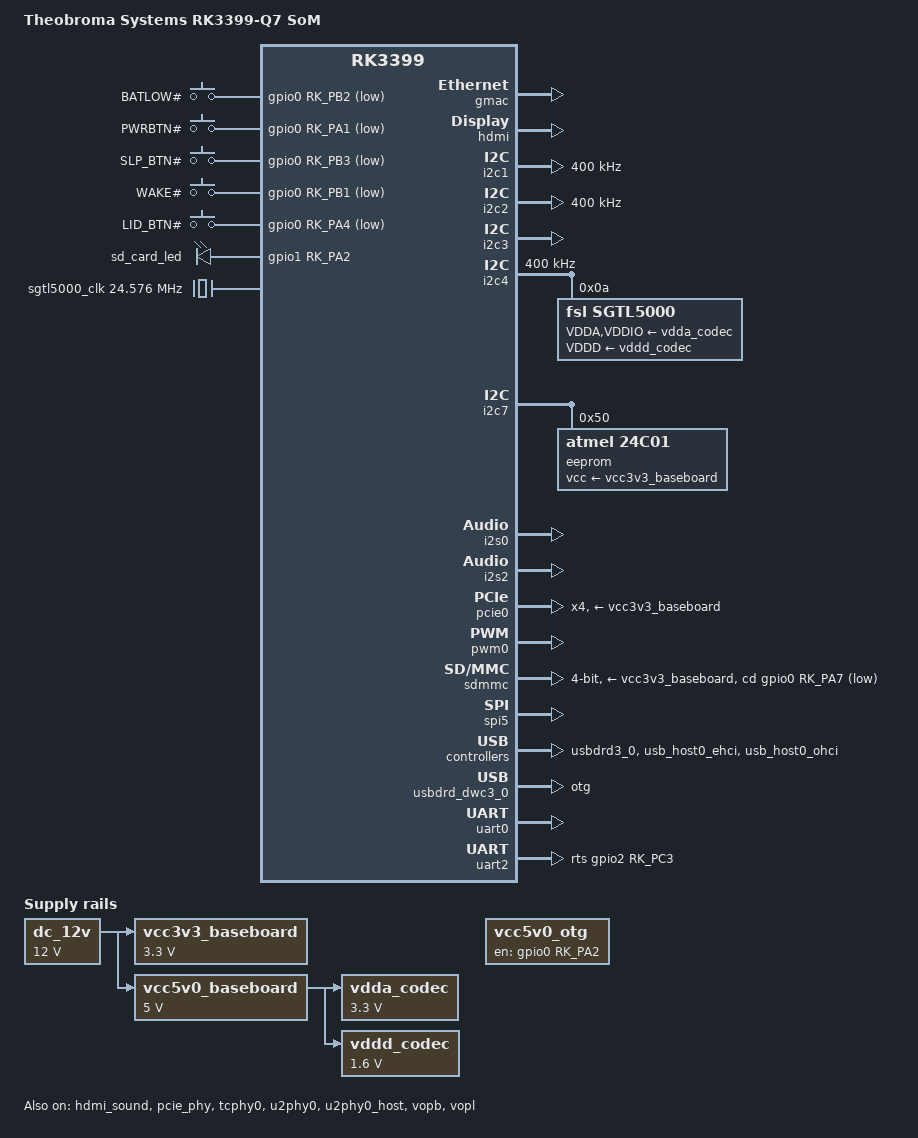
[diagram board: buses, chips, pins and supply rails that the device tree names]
// SPDX-License-Identifier: (GPL-2.0+ OR MIT)
/*
 * Copyright (c) 2017 Theobroma Systems Design und Consulting GmbH
 */

/dts-v1/;
#include "rk3399-puma.dtsi"
#include <dt-bindings/input/input.h>

/ {
	model = "Theobroma Systems RK3399-Q7 SoM";
	compatible = "tsd,rk3399-puma-haikou", "rockchip,rk3399";

	aliases {
		mmc1 = &sdmmc;
	};

	chosen {
		stdout-path = "serial0:115200n8";
	};

	gpio-keys {
		compatible = "gpio-keys";
		pinctrl-0 = <&haikou_keys_pin>;
		pinctrl-names = "default";

		button-batlow-n {
			gpios = <&gpio0 RK_PB2 GPIO_ACTIVE_LOW>;
			label = "BATLOW#";
			linux,code = <KEY_BATTERY>;
		};

		button-pwrbtn-n {
			gpios = <&gpio0 RK_PA1 GPIO_ACTIVE_LOW>;
			label = "PWRBTN#";
			linux,code = <KEY_POWER>;
		};

		button-slp-btn-n {
			gpios = <&gpio0 RK_PB3 GPIO_ACTIVE_LOW>;
			label = "SLP_BTN#";
			linux,code = <KEY_SLEEP>;
		};

		button-wake-n {
			gpios = <&gpio0 RK_PB1 GPIO_ACTIVE_LOW>;
			label = "WAKE#";
			linux,code = <KEY_WAKEUP>;
			wakeup-source;
		};

		switch-lid-btn-n {
			gpios = <&gpio0 RK_PA4 GPIO_ACTIVE_LOW>;
			label = "LID_BTN#";
			linux,code = <SW_LID>;
			linux,input-type = <EV_SW>;
		};
	};

	leds {
		pinctrl-0 = <&module_led_pin>, <&sd_card_led_pin>;

		sd_card_led: led-1 {
			label = "sd_card_led";
			gpios = <&gpio1 RK_PA2 GPIO_ACTIVE_HIGH>;
			linux,default-trigger = "mmc0";
		};
	};

	i2s0-sound {
		compatible = "simple-audio-card";
		simple-audio-card,format = "i2s";
		simple-audio-card,name = "Haikou,I2S-codec";
		simple-audio-card,mclk-fs = <512>;

		simple-audio-card,codec {
			clocks = <&sgtl5000_clk>;
			sound-dai = <&sgtl5000>;
		};

		simple-audio-card,cpu {
			bitclock-master;
			frame-master;
			sound-dai = <&i2s0>;
		};
	};

	sgtl5000_clk: sgtl5000-oscillator  {
			compatible = "fixed-clock";
			#clock-cells = <0>;
			clock-frequency = <24576000>;
	};

	dc_12v: regulator-dc-12v {
		compatible = "regulator-fixed";
		regulator-name = "dc_12v";
		regulator-always-on;
		regulator-boot-on;
		regulator-min-microvolt = <12000000>;
		regulator-max-microvolt = <12000000>;
	};

	vcc3v3_baseboard: regulator-vcc3v3-baseboard {
		compatible = "regulator-fixed";
		regulator-name = "vcc3v3_baseboard";
		regulator-always-on;
		regulator-boot-on;
		regulator-min-microvolt = <3300000>;
		regulator-max-microvolt = <3300000>;
		vin-supply = <&dc_12v>;
	};

	vcc5v0_baseboard: regulator-vcc5v0-baseboard {
		compatible = "regulator-fixed";
		regulator-name = "vcc5v0_baseboard";
		regulator-always-on;
		regulator-boot-on;
		regulator-min-microvolt = <5000000>;
		regulator-max-microvolt = <5000000>;
		vin-supply = <&dc_12v>;
	};

	vcc5v0_otg: regulator-vcc5v0-otg {
		compatible = "regulator-fixed";
		enable-active-high;
		gpio = <&gpio0 RK_PA2 GPIO_ACTIVE_HIGH>;
		pinctrl-names = "default";
		pinctrl-0 = <&otg_vbus_drv>;
		regulator-name = "vcc5v0_otg";
		regulator-always-on;
	};

	vdda_codec: regulator-vdda-codec {
		compatible = "regulator-fixed";
		regulator-name = "vdda_codec";
		regulator-boot-on;
		regulator-min-microvolt = <3300000>;
		regulator-max-microvolt = <3300000>;
		vin-supply = <&vcc5v0_baseboard>;
	};

	vddd_codec: regulator-vddd-codec {
		compatible = "regulator-fixed";
		regulator-name = "vddd_codec";
		regulator-boot-on;
		regulator-min-microvolt = <1600000>;
		regulator-max-microvolt = <1600000>;
		vin-supply = <&vcc5v0_baseboard>;
	};
};

&gmac {
	status = "okay";
};

&hdmi {
	status = "okay";
};

&hdmi_sound {
	status = "okay";
};

&i2c1 {
	status = "okay";
	clock-frequency = <400000>;
};

&i2c2 {
	status = "okay";
	clock-frequency = <400000>;
};

&i2c3 {
	i2c-scl-rising-time-ns = <450>;
	i2c-scl-falling-time-ns = <15>;
	status = "okay";
};

&i2c4 {
	status = "okay";
	clock-frequency = <400000>;

	sgtl5000: codec@a {
		compatible = "fsl,sgtl5000";
		reg = <0x0a>;
		clocks = <&sgtl5000_clk>;
		#sound-dai-cells = <0>;
		VDDA-supply = <&vdda_codec>;
		VDDIO-supply = <&vdda_codec>;
		VDDD-supply = <&vddd_codec>;
		status = "okay";
	};
};

&i2c7 {
	eeprom@50 {
		reg = <0x50>;
		compatible = "atmel,24c01";
		pagesize = <8>;
		size = <128>;
		vcc-supply = <&vcc3v3_baseboard>;
	};
};

&i2s0 {
	status = "okay";
};

&i2s2 {
	status = "okay";
};

&pcie_phy {
	status = "okay";
};

&pcie0 {
	ep-gpios = <&gpio4 RK_PC6 GPIO_ACTIVE_HIGH>;
	num-lanes = <4>;
	pinctrl-names = "default";
	pinctrl-0 = <&pcie_clkreqn_cpm>;
	vpcie3v3-supply = <&vcc3v3_baseboard>;
	vpcie12v-supply = <&dc_12v>;
	status = "okay";
};

&pinctrl {
	buttons {
		haikou_keys_pin: haikou-keys-pin {
			rockchip,pins =
			  /* PWRBTN# */
			  <0 RK_PA1 RK_FUNC_GPIO &pcfg_pull_up>,
			  /* LID_BTN */
			  <0 RK_PA4 RK_FUNC_GPIO &pcfg_pull_up>,
			  /* BATLOW# */
			  <0 RK_PB2 RK_FUNC_GPIO &pcfg_pull_up>,
			  /* SLP_BTN# */
			  <0 RK_PB3 RK_FUNC_GPIO &pcfg_pull_up>,
			  /* WAKE# */
			  <0 RK_PB1 RK_FUNC_GPIO &pcfg_pull_up>;
		};
	};

	leds {
		sd_card_led_pin: sd-card-led-pin {
			rockchip,pins =
			  <1 RK_PA2 RK_FUNC_GPIO &pcfg_pull_none>;
		};
	};

	usb2 {
		otg_vbus_drv: otg-vbus-drv {
			rockchip,pins =
			  <0 RK_PA2 RK_FUNC_GPIO &pcfg_pull_none>;
		};
	};
};

&pwm0 {
	status = "okay";
};

&sdmmc {
	bus-width = <4>;
	cap-mmc-highspeed;
	cap-sd-highspeed;
	cd-gpios = <&gpio0 RK_PA7 GPIO_ACTIVE_LOW>;
	disable-wp;
	max-frequency = <40000000>;
	pinctrl-names = "default";
	pinctrl-0 = <&sdmmc_clk &sdmmc_cmd &sdmmc_cd &sdmmc_bus4>;
	vmmc-supply = <&vcc3v3_baseboard>;
	status = "okay";
};

&spi5 {
	status = "okay";
};

&tcphy0 {
	status = "okay";
};

&u2phy0 {
	status = "okay";
};

&usbdrd3_0 {
	status = "okay";
};

&usbdrd_dwc3_0 {
	dr_mode = "otg";
	extcon = <&extcon_usb3>;
	status = "okay";
};

&u2phy0_host {
	phy-supply = <&vcc5v0_otg>;
	status = "okay";
};

&uart0 {
	pinctrl-names = "default";
	pinctrl-0 = <&uart0_xfer>;
	status = "okay";
};

&uart2 {
	rts-gpios = <&gpio2 RK_PC3 GPIO_ACTIVE_HIGH>;
	status = "okay";
};

&usb_host0_ehci {
	status = "okay";
};

&usb_host0_ohci {
	status = "okay";
};

&vopb {
	status = "okay";
};

&vopb_mmu {
	status = "okay";
};

&vopl {
	status = "okay";
};

&vopl_mmu {
	status = "okay";
};
